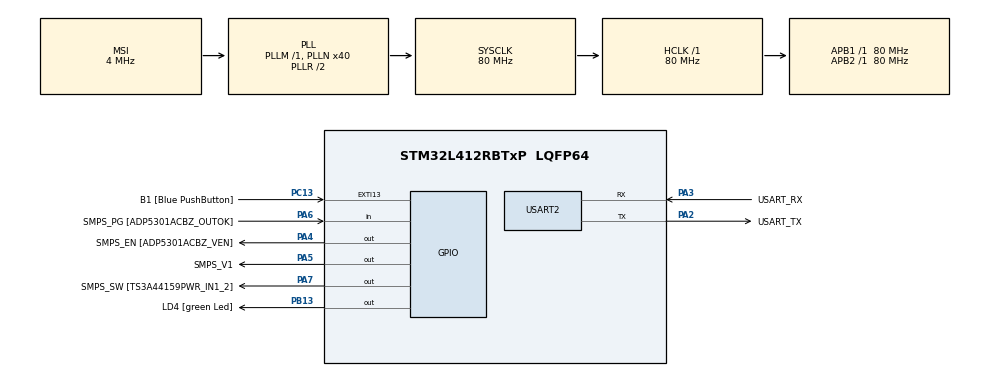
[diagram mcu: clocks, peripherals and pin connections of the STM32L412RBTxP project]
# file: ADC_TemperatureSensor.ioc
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ADC1.Channel-2\#ChannelRegularConversion=ADC_CHANNEL_TEMPSENSOR
ADC1.ClockPrescaler=ADC_CLOCK_ASYNC_DIV32
ADC1.ContinuousConvMode=ENABLE
ADC1.NbrOfConversion=1
ADC1.NbrOfConversionFlag=1
ADC1.OffsetNumber-2\#ChannelRegularConversion=ADC_OFFSET_NONE
ADC1.Rank-2\#ChannelRegularConversion=1
ADC1.SamplingTime-2\#ChannelRegularConversion=ADC_SAMPLETIME_640CYCLES_5
ADC1.master=1
Mcu.Family=STM32L4
Mcu.Name=STM32L412RBTxP
Mcu.Package=LQFP64
NVIC.PriorityGroup=NVIC_PRIORITYGROUP_4
PA13\ (JTMS/SWDIO).GPIO_Label=TMS
PA13\ (JTMS/SWDIO).Mode=Serial_Wire
PA13\ (JTMS/SWDIO).Signal=SYS_JTMS-SWDIO
PA14\ (JTCK/SWCLK).GPIO_Label=TCK
PA14\ (JTCK/SWCLK).Mode=Serial_Wire
PA14\ (JTCK/SWCLK).Signal=SYS_JTCK-SWCLK
PA2.GPIO_Label=USART_TX
PA2.GPIO_PuPd=GPIO_NOPULL
PA2.GPIO_Speed=GPIO_SPEED_FREQ_VERY_HIGH
PA2.Mode=Asynchronous
PA2.Signal=USART2_TX
PA3.GPIO_Label=USART_RX
PA3.GPIO_PuPd=GPIO_NOPULL
PA3.GPIO_Speed=GPIO_SPEED_FREQ_VERY_HIGH
PA3.Mode=Asynchronous
PA3.Signal=USART2_RX
PA4.GPIO_Label=SMPS_EN [ADP5301ACBZ_VEN]
PA4.Signal=GPIO_Output
PA5.GPIO_Label=SMPS_V1
PA5.GPIO_ModeDefaultOutputPP=GPIO_MODE_OUTPUT_PP
PA5.GPIO_PuPd=GPIO_NOPULL
PA5.GPIO_Speed=GPIO_SPEED_FREQ_LOW
PA5.Signal=GPIO_Output
PA6.GPIO_Label=SMPS_PG [ADP5301ACBZ_OUTOK]
PA6.GPIO_PuPd=GPIO_PULLUP
PA6.Signal=GPIO_Input
PA7.GPIO_Label=SMPS_SW [TS3A44159PWR_IN1_2]
PA7.Signal=GPIO_Output
PB13.GPIO_Label=LD4 [green Led]
PB13.Signal=GPIO_Output
PB3\ (JTDO/TRACESWO).GPIO_Label=SWO
PB3\ (JTDO/TRACESWO).Signal=SYS_JTDO-SWO
PC13.GPIO_Label=B1 [Blue PushButton]
PC13.GPIO_ModeDefaultEXTI=GPIO_MODE_IT_FALLING
PC13.GPIO_PuPd=GPIO_NOPULL
PC13.Signal=GPXTI13
PC14-OSC32_IN\ (PC14).Signal=RCC_OSC32_IN
PC15-OSC32_OUT\ (PC15).Signal=RCC_OSC32_OUT
PH0-OSC_IN\ (PH0).GPIO_Label=MCO
PH0-OSC_IN\ (PH0).Signal=RCC_OSC_IN
PH1-OSC_OUT\ (PH1).Signal=RCC_OSC_OUT
ProjectManager.HeapSize=0x200
ProjectManager.StackSize=0x400
ProjectManager.TargetToolchain=STM32CubeIDE
RCC.ADCFreq_Value=80000000
RCC.AHBFreq_Value=80000000
RCC.APB1Freq_Value=80000000
RCC.APB1TimFreq_Value=80000000
RCC.APB2Freq_Value=80000000
RCC.APB2TimFreq_Value=80000000
RCC.CortexFreq_Value=80000000
RCC.FLatency=FLASH_LATENCY_4
RCC.HCLKFreq_Value=80000000
RCC.HSE_VALUE=8000000
RCC.HSI48_VALUE=48000000
RCC.HSICalibrationValue=16
RCC.HSI_VALUE=16000000
RCC.LSE_VALUE=32768
RCC.MSIAutoCalibration=DISABLED
RCC.MSI_VALUE=4000000
RCC.PLLN=40
RCC.PREFETCH_ENABLE=1
RCC.SYSCLKFreq_VALUE=80000000
RCC.SYSCLKSource=RCC_SYSCLKSOURCE_PLLCLK
RCC.USBFreq_Value=4000000
RCC.VCOOutputFreq_Value=160000000
USART2.VirtualMode-Asynchronous=VM_ASYNC
VP_ADC1_TempSens_Input.Mode=IN-TempSens
board=NUCLEO-L412RB-P

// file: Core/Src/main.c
/* USER CODE BEGIN Header */
/**
  ******************************************************************************
  * @file           : main.c
  * @brief          : Main program body
  ******************************************************************************
  * @attention
  *
  * <h2><center>&copy; Copyright (c) 2021 STMicroelectronics.
  * All rights reserved.</center></h2>
  *
  * This software component is licensed by ST under BSD 3-Clause license,
  * the "License"; You may not use this file except in compliance with the
  * License. You may obtain a copy of the License at:
  *                        opensource.org/licenses/BSD-3-Clause
  *
  ******************************************************************************
  */
/* USER CODE END Header */
#include "main.h"
#include "adc.h"
#include "usart.h"
#include "gpio.h"

/* USER CODE BEGIN Includes */
#include <stdio.h>
/* USER CODE END Includes */

/* USER CODE BEGIN PM */
#ifdef __GNUC__
    #define PUTCHAR_PROTOTYPE int __io_putchar(int ch)
#else
    #define PUTCHAR_PROTOTYPE int fputc(int ch, FILE *f)
#endif

PUTCHAR_PROTOTYPE
{
  HAL_UART_Transmit(&huart2, (uint8_t *)&ch, 1, 0xFFFF);
  return ch;
}
/* USER CODE END PM */

/* USER CODE BEGIN PV */
#if 1

#else
const float AVG_SLOPE = 4.3 / 1000;
const float V25 = 1.43;
const float ADC_TO_VOLT = 3.0/4096;

const float AVG_SLOPE_1 = 2.5 / 1000;
const float V30 = 0.76;
#endif
/* USER CODE END PV */

void SystemClock_Config(void);

int main(void)
{

  /* MCU Configuration--------------------------------------------------------*/

  /* Reset of all peripherals, Initializes the Flash interface and the Systick. */
  HAL_Init();

  /* Configure the system clock */
  SystemClock_Config();

  /* Initialize all configured peripherals */
  MX_GPIO_Init();
  MX_USART2_UART_Init();
  MX_ADC1_Init();
  /* USER CODE BEGIN 2 */

#if 1
#define TEMPSENSOR_CAL1_ADDR               ((uint16_t*) (0x1FFF75A8UL)) /* Internal temperature sensor, address of parameter TS_CAL1: On STM32L4, temperature sensor ADC raw data acquired at temperature  30 DegC (tolerance: +-5 DegC), Vref+ = 3.0 V (tolerance: +-10 mV). */
#define TEMPSENSOR_CAL2_ADDR               ((uint16_t*) (0x1FFF75CAUL)
  /* 0x1FFF 75CA - 0x1FFF 75CB */
  const uint16_t* TEMP130_CAL_VALUE = ((uint16_t*)((uint32_t)0x1FFF75CA));
  /* 0x1FFF 75A8 - 0x1FFF 75A9 */
  const uint16_t* TEMP30_CAL_VALUE = ((uint16_t*)((uint32_t)0x1FFF75A8));
  //#define TEMP30_CAL_VALUE                                        ((uint16_t*)((uint32_t)0x1FFF75A8))
  //#define TEMP130                                                 130.0f
  //#define TEMP30
  float const TEMP130 = 130.0f;
  float const TEMP30 = 30.0f;

  uint16_t temperature;
  float sensorValue;
//  float adcCalValue30;
//  float adcCalValue130;
//  adcCalValue30 = (float)*TEMP30_CAL_VALUE;
//  adcCalValue130 = (float)*TEMP130_CAL_VALUE;

//  ADC1->CR |= ADC_CCR_TSVREFE;
//  ADC1->CR &= ~ADC_CCR_VBATE ;
  //  uint16_t adc1;
//
//  float vSense, temp;

//  /* start calibration */
  if (HAL_ADCEx_Calibration_Start(&hadc1, ADC_SINGLE_ENDED) != HAL_OK)
  {
      Error_Handler();
  }
//  /* start the conversion process */
//  if (HAL_ADC_Start(&hadc1) != HAL_OK)
//  {
//      Error_Handler();
//  }

#else
   uint16_t value;
//   uint16_t vout;
   float temp;
   float temp_1;
#endif
   printf("STM on!! \r\n");

  /* USER CODE END 2 */

  /* Infinite loop */
  /* USER CODE BEGIN WHILE */
  while (1)
  {
#if 1
    HAL_ADC_Start(&hadc1);
    if(HAL_ADC_PollForConversion(&hadc1, 100) == HAL_OK)
    {
      sensorValue = (float)HAL_ADC_GetValue(&hadc1);
      HAL_ADC_Stop(&hadc1);
      temperature =  (((TEMP130 - TEMP30) / ((float)(*TEMP130_CAL_VALUE) - (float)(*TEMP30_CAL_VALUE)) * (sensorValue - (float)(*TEMP30_CAL_VALUE))) + 30);
    }
    printf("------------------- \r\n");
    printf("130 : %f  30 : %f \r\n", (float)(*TEMP130_CAL_VALUE), (float)(*TEMP30_CAL_VALUE));
    printf("slope : %f \r\n", (TEMP130 - TEMP30) / ((float)(*TEMP130_CAL_VALUE) - (float)(*TEMP30_CAL_VALUE)));
//    printf(" real cal : %f \r\n", ((TEMP130 - TEMP30) / ((float)(*TEMP130_CAL_VALUE) - (float)(*TEMP30_CAL_VALUE)) * (sensorValue - (*TEMP30_CAL_VALUE))) + 30);
    printf("ADC1 : %f   Temp : %d \r\n", sensorValue, temperature);

    uint8_t a = (uint8_t)(float)(-1.1f);
    printf("a : %d \r\n", a);

    HAL_Delay(1000);
#else

    HAL_ADC_Start(&hadc1);
    HAL_ADC_PollForConversion(&hadc1, HAL_MAX_DELAY);
    value = HAL_ADC_GetValue(&hadc1);
    HAL_ADC_Stop(&hadc1);

//    vout = 3000 * value / 4096;
//    temp = (float)vout*0.8;
//    temp = (uint16_t)(((V30 * 1000.0 - (float)value * 0.8) / AVG_SLOPE) + 25.0);
    temp = (uint16_t)((V25-(float)(value * ADC_TO_VOLT)) / AVG_SLOPE  + 25.0);
    temp_1 = (uint16_t)((V30-(float)(value * ADC_TO_VOLT)) / AVG_SLOPE_1  + 30.0);

    printf("adc: %d, toVolt : %f adc_volt : %f  slope : %f \r\n", value, ADC_TO_VOLT, (float)(value * ADC_TO_VOLT), AVG_SLOPE_1);
    printf("cal : %f, cal_1 : %f \r\n",  (V25-(float)(value * ADC_TO_VOLT)), (V30-(float)(value * ADC_TO_VOLT)));
    printf("div : %f, div_1 : %f uint : %d \r\n",  (V25-(float)(value * ADC_TO_VOLT))/ AVG_SLOPE , (V30-(float)(value * ADC_TO_VOLT)/ AVG_SLOPE_1), (uint16_t)(V30-(float)(value * ADC_TO_VOLT)/ AVG_SLOPE_1));
    printf("temp : %f temp_1 : %f \r\n", temp, temp_1);
    HAL_Delay(1000);
#endif

    /* USER CODE END WHILE */

  }
}

void SystemClock_Config(void)
{
  RCC_OscInitTypeDef RCC_OscInitStruct = {0};
  RCC_ClkInitTypeDef RCC_ClkInitStruct = {0};
  RCC_PeriphCLKInitTypeDef PeriphClkInit = {0};

  /** Configure the main internal regulator output voltage
  */
  if (HAL_PWREx_ControlVoltageScaling(PWR_REGULATOR_VOLTAGE_SCALE1) != HAL_OK)
  {
    Error_Handler();
  }
  /** Initializes the RCC Oscillators according to the specified parameters
  * in the RCC_OscInitTypeDef structure.
  */
  RCC_OscInitStruct.OscillatorType = RCC_OSCILLATORTYPE_MSI;
  RCC_OscInitStruct.MSIState = RCC_MSI_ON;
  RCC_OscInitStruct.MSICalibrationValue = 0;
  RCC_OscInitStruct.MSIClockRange = RCC_MSIRANGE_6;
  RCC_OscInitStruct.PLL.PLLState = RCC_PLL_ON;
  RCC_OscInitStruct.PLL.PLLSource = RCC_PLLSOURCE_MSI;
  RCC_OscInitStruct.PLL.PLLM = 1;
  RCC_OscInitStruct.PLL.PLLN = 40;
  RCC_OscInitStruct.PLL.PLLQ = RCC_PLLQ_DIV2;
  RCC_OscInitStruct.PLL.PLLR = RCC_PLLR_DIV2;
  if (HAL_RCC_OscConfig(&RCC_OscInitStruct) != HAL_OK)
  {
    Error_Handler();
  }
  /** Initializes the CPU, AHB and APB buses clocks
  */
  RCC_ClkInitStruct.ClockType = RCC_CLOCKTYPE_HCLK|RCC_CLOCKTYPE_SYSCLK
                              |RCC_CLOCKTYPE_PCLK1|RCC_CLOCKTYPE_PCLK2;
  RCC_ClkInitStruct.SYSCLKSource = RCC_SYSCLKSOURCE_PLLCLK;
  RCC_ClkInitStruct.AHBCLKDivider = RCC_SYSCLK_DIV1;
  RCC_ClkInitStruct.APB1CLKDivider = RCC_HCLK_DIV1;
  RCC_ClkInitStruct.APB2CLKDivider = RCC_HCLK_DIV1;

  if (HAL_RCC_ClockConfig(&RCC_ClkInitStruct, FLASH_LATENCY_4) != HAL_OK)
  {
    Error_Handler();
  }
  PeriphClkInit.PeriphClockSelection = RCC_PERIPHCLK_USART2|RCC_PERIPHCLK_ADC;
  PeriphClkInit.Usart2ClockSelection = RCC_USART2CLKSOURCE_PCLK1;
  if (HAL_RCCEx_PeriphCLKConfig(&PeriphClkInit) != HAL_OK)
  {
    Error_Handler();
  }
}

void Error_Handler(void)
{
  __disable_irq();
  while (1)
  {
  }
}

/************************ (C) COPYRIGHT STMicroelectronics *****END OF FILE****/
